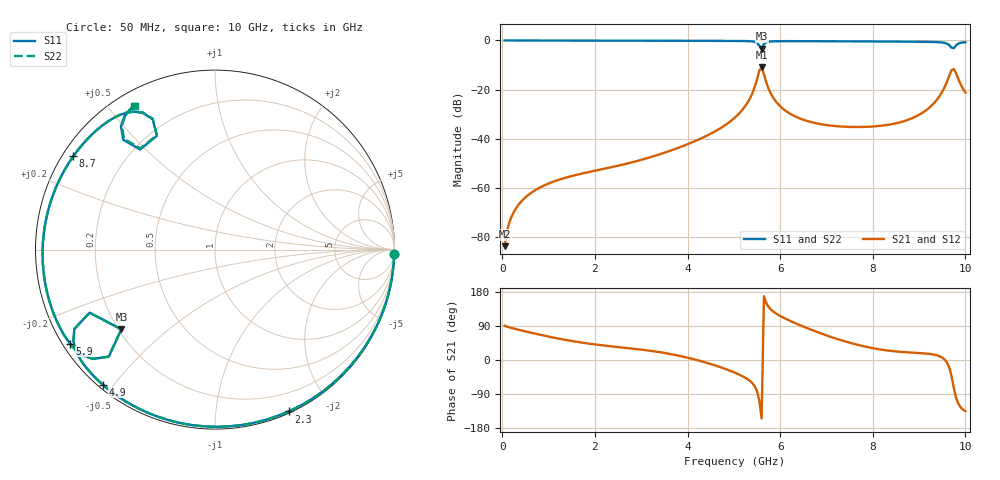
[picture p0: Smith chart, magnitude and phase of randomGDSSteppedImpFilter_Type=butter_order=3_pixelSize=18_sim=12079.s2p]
! freq	dB(S11)	phase(S11)	dB(S12)	phase(S12)
!  dB(S21)	phase(S21)	dB(S22)	phase(S22)
!S-par simulation data
#  GHz  S  DB  R 50
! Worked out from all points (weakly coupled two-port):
!   200 points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, 50 MHz to 10 GHz, reference 50 ohm
!   highest |S21| = -10.81 dB at 5.6 GHz (marker M1); lowest = -83.8 dB at 50 MHz (marker M2)
!   lowest |S11| = -3.3 dB at 5.6 GHz (marker M3), VSWR 5.34, Z = 10.6 - j17.7 ohm
!   |S11| at or under -10 dB: nowhere
!   |S22| runs from -3.3 to 0.0 dB; largest |S21 - S12| = 0
!   S11 on the Smith chart (normalised r, x): 50 MHz: 2, -75; 2.3 GHz: 0.02, -1.55; 4.9 GHz: 0.01, -0.47; 5.9 GHz: 0.02, -0.30; 8.7 GHz: 0.03, +0.30; 10 GHz: 0.06, +0.58
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0.05  -0.01 -1.5  -83.76 90.4  -83.76 90.4  -0.01 -1.5
0.25  -0.02 -7.4  -69.81 82.9  -69.81 82.9  -0.02 -7.4
0.55  -0.02 -16.2  -63.09 74.0  -63.09 74.0  -0.02 -16.2
1.75  -0.06 -50.6  -54.07 45.3  -54.07 45.3  -0.06 -50.6
2.3  -0.08 -65.5  -51.84 36.8  -51.84 36.8  -0.08 -65.5
3.4  -0.12 -93.7  -46.34 20.6  -46.34 20.6  -0.12 -93.8
4.9  -0.19 -129.8  -33.30 -27.4  -33.30 -27.4  -0.19 -129.8
5.05  -0.21 -133.5  -30.92 -34.8  -30.92 -34.8  -0.21 -133.6
5.3  -0.28 -140.7  -25.18 -50.8  -25.18 -50.8  -0.28 -140.7
5.5  -0.93 -150.6  -15.95 -82.0  -15.95 -82.0  -0.92 -150.6
5.55  -2.14 -153.3  -12.27 -107.6  -12.27 -107.6  -2.13 -153.3
5.6  -3.29 -139.6  -10.81 -154.2  -10.81 -154.2  -3.27 -139.6
5.65  -1.51 -134.8  -13.77 168.3  -13.77 168.3  -1.50 -134.9
5.9  -0.33 -147.0  -24.66 123.7  -24.66 123.7  -0.33 -147.1
6.7  -0.31 -166.7  -33.38 78.5  -33.38 78.5  -0.31 -166.8
8.35  -0.45 155.3  -34.29 24.5  -34.29 24.5  -0.45 155.2
8.7  -0.49 146.7  -32.72 20.6  -32.72 20.6  -0.49 146.5
9.3  -0.63 130.1  -25.96 14.7  -25.96 14.7  -0.63 129.9
9.6  -1.28 117.9  -16.90 -6.1  -16.90 -6.1  -1.28 117.8
9.75  -3.14 126.8  -11.62 -73.9  -11.62 -73.9  -3.09 126.4
9.85  -1.27 127.4  -15.80 -116.1  -15.80 -116.1  -1.26 126.9
10  -0.74 119.6  -21.24 -134.8  -21.24 -134.8  -0.73 119.2
